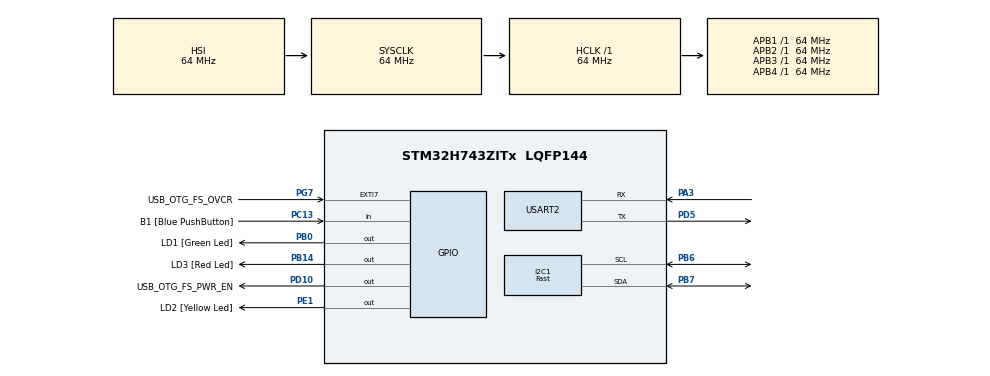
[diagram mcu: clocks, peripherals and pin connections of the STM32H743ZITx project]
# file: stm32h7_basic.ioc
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I2C1.I2C_Speed_Mode=I2C_Fast
I2C1.Timing=0x00602173
Mcu.Family=STM32H7
Mcu.Name=STM32H743ZITx
Mcu.Package=LQFP144
NVIC.PriorityGroup=NVIC_PRIORITYGROUP_4
NVIC.TIM1_UP_IRQn=true\:0\:0\:false\:false\:true\:false\:true
NVIC.TimeBase=TIM1_UP_IRQn
NVIC.TimeBaseIP=TIM1
PA1.Signal=ETH_REF_CLK
PA11.Signal=USB_OTG_FS_DM
PA12.Signal=USB_OTG_FS_DP
PA13\ (JTMS/SWDIO).Mode=Trace_Asynchronous_SW
PA13\ (JTMS/SWDIO).Signal=DEBUG_JTMS-SWDIO
PA14\ (JTCK/SWCLK).Mode=Trace_Asynchronous_SW
PA14\ (JTCK/SWCLK).Signal=DEBUG_JTCK-SWCLK
PA2.Signal=ETH_MDIO
PA3.Mode=Asynchronous
PA3.Signal=USART2_RX
PA7.Signal=ETH_CRS_DV
PA8.Signal=USB_OTG_FS_SOF
PA9.Signal=USB_OTG_FS_VBUS
PB0.GPIO_Label=LD1 [Green Led]
PB0.Signal=GPIO_Output
PB13.Signal=ETH_TXD1
PB14.GPIO_Label=LD3 [Red Led]
PB14.Signal=GPIO_Output
PB3\ (JTDO/TRACESWO).Mode=Trace_Asynchronous_SW
PB3\ (JTDO/TRACESWO).Signal=DEBUG_JTDO-SWO
PB6.Mode=I2C
PB6.Signal=I2C1_SCL
PB7.Mode=I2C
PB7.Signal=I2C1_SDA
PC1.Signal=ETH_MDC
PC13.GPIO_Label=B1 [Blue PushButton]
PC13.Signal=GPIO_Input
PC14-OSC32_IN\ (OSC32_IN).Signal=RCC_OSC32_IN
PC15-OSC32_OUT\ (OSC32_OUT).Signal=RCC_OSC32_OUT
PC4.Signal=ETH_RXD0
PC5.Signal=ETH_RXD1
PD10.GPIO_Label=USB_OTG_FS_PWR_EN
PD10.Signal=GPIO_Output
PD5.Mode=Asynchronous
PD5.Signal=USART2_TX
PD8.GPIO_Label=STLINK_RX
PD8.Signal=USART3_TX
PD9.GPIO_Label=STLINK_TX
PD9.Signal=USART3_RX
PE1.GPIO_Label=LD2 [Yellow Led]
PE1.Signal=GPIO_Output
PG11.Signal=ETH_TX_EN
PG13.Signal=ETH_TXD0
PG7.GPIO_Label=USB_OTG_FS_OVCR
PG7.Signal=GPXTI7
PH0-OSC_IN\ (PH0).Signal=RCC_OSC_IN
PH1-OSC_OUT\ (PH1).Signal=RCC_OSC_OUT
ProjectManager.HeapSize=0x200
ProjectManager.StackSize=0x400
ProjectManager.TargetToolchain=SW4STM32
RCC.ADCFreq_Value=129000000
RCC.APB1Freq_Value=64000000
RCC.APB2Freq_Value=64000000
RCC.APB3Freq_Value=64000000
RCC.APB4Freq_Value=64000000
RCC.CortexFreq_Value=64000000
RCC.HCLKFreq_Value=64000000
RCC.SYSCLKFreq_VALUE=64000000
RCC.USBFreq_Value=129000000
USART2.VirtualMode-Asynchronous=VM_ASYNC
VP_SYS_VS_tim1.Mode=TIM1
board=NUCLEO-H743ZI2

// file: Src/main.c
/* USER CODE BEGIN Header */
/**
  ******************************************************************************
  * @file           : main.c
  * @brief          : Main program body
  ******************************************************************************
  * @attention
  *
  * <h2><center>&copy; Copyright (c) 2020 STMicroelectronics.
  * All rights reserved.</center></h2>
  *
  * This software component is licensed by ST under BSD 3-Clause license,
  * the "License"; You may not use this file except in compliance with the
  * License. You may obtain a copy of the License at:
  *                        opensource.org/licenses/BSD-3-Clause
  *
  ******************************************************************************
  */
/* USER CODE END Header */

#include "main.h"

/* USER CODE BEGIN PD */
#define CPU_CORE_FREQUENCY_HZ 64000000 /* CPU core frequency in Hz */
#define SWO_FREQUENCY_HZ  2000000 /* frequency of SWO line in Hz */

/* USER CODE END PD */

I2C_HandleTypeDef hi2c1;

UART_HandleTypeDef huart2;

void SystemClock_Config(void);
static void MX_GPIO_Init(void);
static void MX_I2C1_Init(void);
static void MX_USART2_UART_Init(void);

/* USER CODE BEGIN 0 */
/*!
 * \brief Initialize the SWO trace port for debug message printing
 * \param portBits Port bit mask to be configured
 * \param cpuCoreFreqHz CPU core clock frequency in Hz
 */
void SWO_Init(uint32_t portBits, uint32_t cpuCoreFreqHz, uint32_t swoSpeedHz) {
  uint32_t SWOPrescaler = (cpuCoreFreqHz / swoSpeedHz) - 1; /* SWOSpeed in Hz, note that cpuCoreFreqHz is expected to match the CPU core clock */

  CoreDebug->DEMCR = CoreDebug_DEMCR_TRCENA_Msk; /* enable trace in core debug */
  *((volatile unsigned *)(ITM_BASE + 0x400F0)) = 0x00000002; /* "Selected PIN Protocol Register": Select which protocol to use for trace output (2: SWO NRZ, 1: SWO Manchester encoding) */
  *((volatile unsigned *)(ITM_BASE + 0x40010)) = SWOPrescaler; /* "Async Clock Prescaler Register". Scale the baud rate of the asynchronous output */
  *((volatile unsigned *)(ITM_BASE + 0x00FB0)) = 0xC5ACCE55; /* ITM Lock Access Register, C5ACCE55 enables more write access to Control Register 0xE00 :: 0xFFC */
  ITM->TCR = ITM_TCR_TraceBusID_Msk | ITM_TCR_SWOENA_Msk | ITM_TCR_SYNCENA_Msk | ITM_TCR_ITMENA_Msk; /* ITM Trace Control Register */
  ITM->TPR = ITM_TPR_PRIVMASK_Msk; /* ITM Trace Privilege Register */
  ITM->TER = portBits; /* ITM Trace Enable Register. Enabled tracing on stimulus ports. One bit per stimulus port. */
  *((volatile unsigned *)(ITM_BASE + 0x01000)) = 0x400003FE; /* DWT_CTRL */
  *((volatile unsigned *)(ITM_BASE + 0x40304)) = 0x00000100; /* Formatter and Flush Control Register */
}

void SWO_Init_stm32h7(uint32_t portBits, uint32_t cpuCoreFreqHz, uint32_t swoSpeedHz)
{
  /*
    This functions recommends system speed of 400000000Hz and will
    use SWO clock speed of 2000000Hz

    # GDB OpenOCD commands to connect to this:
    monitor tpiu config internal - uart off 400000000
    monitor itm port 0 on

    Code Gen Ref: https://gist.github.com/mofosyne/178ad947fdff0f357eb0e03a42bcef5c
  */

  /* Setup SWO and SWO funnel (Note: SWO_BASE and SWTF_BASE not defined in stm32h743xx.h) */
  // DBGMCU_CR : Enable D3DBGCKEN D1DBGCKEN TRACECLKEN Clock Domains
  DBGMCU->CR =  DBGMCU_CR_DBG_CKD3EN | DBGMCU_CR_DBG_CKD1EN | DBGMCU_CR_DBG_TRACECKEN; // DBGMCU_CR
  // SWO_LAR & SWTF_LAR : Unlock SWO and SWO Funnel
  *((uint32_t *)(0x5c003fb0)) = 0xC5ACCE55; // SWO_LAR
  *((uint32_t *)(0x5c004fb0)) = 0xC5ACCE55; // SWTF_LAR
  // SWO_CODR  : 400000000Hz -> 2000000Hz
  // Note: SWOPrescaler = ((sysclock_Hz / SWOSpeed_Hz) - 1) --> 0x0000c7 = 199 = (400000000 / 2000000) - 1)
  *((uint32_t *)(0x5c003010)) = ((cpuCoreFreqHz /  swoSpeedHz) - 1); // SWO_CODR
  // SWO_SPPR : (2:  SWO NRZ, 1:  SWO Manchester encoding)
  *((uint32_t *)(0x5c0030f0)) = 0x00000002; // SWO_SPPR
  // SWTF_CTRL : enable SWO
  *((uint32_t *)(0x5c004000)) |= 0x1; // SWTF_CTRL

  /* SWO GPIO Pin Setup */
  //RCC_AHB4ENR enable GPIOB clock
  *(__IO uint32_t*)(0x580244E0) |= 0x00000002;
  // Configure GPIOB pin 3 as AF
  *(__IO uint32_t*)(0x58020400) = (*(__IO uint32_t*)(0x58020400) & 0xffffff3f) | 0x00000080;
  // Configure GPIOB pin 3 Speed
  *(__IO uint32_t*)(0x58020408) |= 0x00000080;
  // Force AF0 for GPIOB pin 3
  *(__IO uint32_t*)(0x58020420) &= 0xFFFF0FFF;
}

/*!
 * \brief Sends a character over the SWO channel
 * \param c Character to be sent
 * \param portNo SWO channel number, value in the range of 0 to 31
 */
void SWO_PrintChar(char c, uint8_t portNo) {
  volatile int timeout;

  /* Check if Trace Control Register (ITM->TCR at 0xE0000E80) is set */
  if ((ITM->TCR&ITM_TCR_ITMENA_Msk) == 0) { /* check Trace Control Register if ITM trace is enabled*/
    return; /* not enabled? */
  }
  /* Check if the requested channel stimulus port (ITM->TER at 0xE0000E00) is enabled */
  if ((ITM->TER & (1ul<<portNo))==0) { /* check Trace Enable Register if requested port is enabled */
    return; /* requested port not enabled? */
  }
  timeout = 5000; /* arbitrary timeout value */
  while (ITM->PORT[0].u32 == 0) {
    /* Wait until STIMx is ready, then send data */
    timeout--;
    if (timeout==0) {
      return; /* not able to send */
    }
  }
  ITM->PORT[0].u16 = 0x08 | (c<<8);
}

/* USER CODE END 0 */

int main(void)
{

  /* MCU Configuration--------------------------------------------------------*/

  /* Reset of all peripherals, Initializes the Flash interface and the Systick. */
  HAL_Init();

  /* Configure the system clock */
  SystemClock_Config();

  /* Initialize all configured peripherals */
  MX_GPIO_Init();
  MX_I2C1_Init();
  MX_USART2_UART_Init();
  /* USER CODE BEGIN 2 */
//  SWO_Init(0x1, CPU_CORE_FREQUENCY_HZ, SWO_FREQUENCY_HZ);
  SWO_Init_stm32h7(0x1, CPU_CORE_FREQUENCY_HZ, SWO_FREQUENCY_HZ);

  /* USER CODE END 2 */

  /* Infinite loop */
  /* USER CODE BEGIN WHILE */
  while (1)
  {
    SWO_PrintChar('a',0);

    /* USER CODE END WHILE */

  }
}

void SystemClock_Config(void)
{
  RCC_OscInitTypeDef RCC_OscInitStruct = {0};
  RCC_ClkInitTypeDef RCC_ClkInitStruct = {0};
  RCC_PeriphCLKInitTypeDef PeriphClkInitStruct = {0};

  /** Supply configuration update enable
  */
  HAL_PWREx_ConfigSupply(PWR_LDO_SUPPLY);
  /** Configure the main internal regulator output voltage
  */
  __HAL_PWR_VOLTAGESCALING_CONFIG(PWR_REGULATOR_VOLTAGE_SCALE3);

  while(!__HAL_PWR_GET_FLAG(PWR_FLAG_VOSRDY)) {}
  /** Initializes the CPU, AHB and APB busses clocks
  */
  RCC_OscInitStruct.OscillatorType = RCC_OSCILLATORTYPE_HSI;
  RCC_OscInitStruct.HSIState = RCC_HSI_DIV1;
  RCC_OscInitStruct.HSICalibrationValue = RCC_HSICALIBRATION_DEFAULT;
  RCC_OscInitStruct.PLL.PLLState = RCC_PLL_NONE;
  if (HAL_RCC_OscConfig(&RCC_OscInitStruct) != HAL_OK)
  {
    Error_Handler();
  }
  /** Initializes the CPU, AHB and APB busses clocks
  */
  RCC_ClkInitStruct.ClockType = RCC_CLOCKTYPE_HCLK|RCC_CLOCKTYPE_SYSCLK
                              |RCC_CLOCKTYPE_PCLK1|RCC_CLOCKTYPE_PCLK2
                              |RCC_CLOCKTYPE_D3PCLK1|RCC_CLOCKTYPE_D1PCLK1;
  RCC_ClkInitStruct.SYSCLKSource = RCC_SYSCLKSOURCE_HSI;
  RCC_ClkInitStruct.SYSCLKDivider = RCC_SYSCLK_DIV1;
  RCC_ClkInitStruct.AHBCLKDivider = RCC_HCLK_DIV1;
  RCC_ClkInitStruct.APB3CLKDivider = RCC_APB3_DIV1;
  RCC_ClkInitStruct.APB1CLKDivider = RCC_APB1_DIV1;
  RCC_ClkInitStruct.APB2CLKDivider = RCC_APB2_DIV1;
  RCC_ClkInitStruct.APB4CLKDivider = RCC_APB4_DIV1;

  if (HAL_RCC_ClockConfig(&RCC_ClkInitStruct, FLASH_LATENCY_0) != HAL_OK)
  {
    Error_Handler();
  }
  PeriphClkInitStruct.PeriphClockSelection = RCC_PERIPHCLK_USART2|RCC_PERIPHCLK_I2C1;
  PeriphClkInitStruct.Usart234578ClockSelection = RCC_USART234578CLKSOURCE_D2PCLK1;
  PeriphClkInitStruct.I2c123ClockSelection = RCC_I2C123CLKSOURCE_D2PCLK1;
  if (HAL_RCCEx_PeriphCLKConfig(&PeriphClkInitStruct) != HAL_OK)
  {
    Error_Handler();
  }
}

static void MX_I2C1_Init(void)
{

  hi2c1.Instance = I2C1;
  hi2c1.Init.Timing = 0x00602173;
  hi2c1.Init.OwnAddress1 = 0;
  hi2c1.Init.AddressingMode = I2C_ADDRESSINGMODE_7BIT;
  hi2c1.Init.DualAddressMode = I2C_DUALADDRESS_DISABLE;
  hi2c1.Init.OwnAddress2 = 0;
  hi2c1.Init.OwnAddress2Masks = I2C_OA2_NOMASK;
  hi2c1.Init.GeneralCallMode = I2C_GENERALCALL_DISABLE;
  hi2c1.Init.NoStretchMode = I2C_NOSTRETCH_DISABLE;
  if (HAL_I2C_Init(&hi2c1) != HAL_OK)
  {
    Error_Handler();
  }
  /** Configure Analogue filter
  */
  if (HAL_I2CEx_ConfigAnalogFilter(&hi2c1, I2C_ANALOGFILTER_ENABLE) != HAL_OK)
  {
    Error_Handler();
  }
  /** Configure Digital filter
  */
  if (HAL_I2CEx_ConfigDigitalFilter(&hi2c1, 0) != HAL_OK)
  {
    Error_Handler();
  }

}

static void MX_USART2_UART_Init(void)
{

  huart2.Instance = USART2;
  huart2.Init.BaudRate = 115200;
  huart2.Init.WordLength = UART_WORDLENGTH_8B;
  huart2.Init.StopBits = UART_STOPBITS_1;
  huart2.Init.Parity = UART_PARITY_NONE;
  huart2.Init.Mode = UART_MODE_TX_RX;
  huart2.Init.HwFlowCtl = UART_HWCONTROL_NONE;
  huart2.Init.OverSampling = UART_OVERSAMPLING_16;
  huart2.Init.OneBitSampling = UART_ONE_BIT_SAMPLE_DISABLE;
  huart2.Init.ClockPrescaler = UART_PRESCALER_DIV1;
  huart2.AdvancedInit.AdvFeatureInit = UART_ADVFEATURE_NO_INIT;
  if (HAL_UART_Init(&huart2) != HAL_OK)
  {
    Error_Handler();
  }
  if (HAL_UARTEx_SetTxFifoThreshold(&huart2, UART_TXFIFO_THRESHOLD_1_8) != HAL_OK)
  {
    Error_Handler();
  }
  if (HAL_UARTEx_SetRxFifoThreshold(&huart2, UART_RXFIFO_THRESHOLD_1_8) != HAL_OK)
  {
    Error_Handler();
  }
  if (HAL_UARTEx_DisableFifoMode(&huart2) != HAL_OK)
  {
    Error_Handler();
  }

}

static void MX_GPIO_Init(void)
{
  GPIO_InitTypeDef GPIO_InitStruct = {0};

  /* GPIO Ports Clock Enable */
  __HAL_RCC_GPIOC_CLK_ENABLE();
  __HAL_RCC_GPIOH_CLK_ENABLE();
  __HAL_RCC_GPIOA_CLK_ENABLE();
  __HAL_RCC_GPIOB_CLK_ENABLE();
  __HAL_RCC_GPIOD_CLK_ENABLE();
  __HAL_RCC_GPIOG_CLK_ENABLE();
  __HAL_RCC_GPIOE_CLK_ENABLE();

  /*Configure GPIO pin Output Level */
  HAL_GPIO_WritePin(GPIOB, LD1_Pin|LD3_Pin, GPIO_PIN_RESET);

  /*Configure GPIO pin Output Level */
  HAL_GPIO_WritePin(USB_OTG_FS_PWR_EN_GPIO_Port, USB_OTG_FS_PWR_EN_Pin, GPIO_PIN_RESET);

  /*Configure GPIO pin Output Level */
  HAL_GPIO_WritePin(LD2_GPIO_Port, LD2_Pin, GPIO_PIN_RESET);

  /*Configure GPIO pin : B1_Pin */
  GPIO_InitStruct.Pin = B1_Pin;
  GPIO_InitStruct.Mode = GPIO_MODE_INPUT;
  GPIO_InitStruct.Pull = GPIO_NOPULL;
  HAL_GPIO_Init(B1_GPIO_Port, &GPIO_InitStruct);

  /*Configure GPIO pins : PC1 PC4 PC5 */
  GPIO_InitStruct.Pin = GPIO_PIN_1|GPIO_PIN_4|GPIO_PIN_5;
  GPIO_InitStruct.Mode = GPIO_MODE_AF_PP;
  GPIO_InitStruct.Pull = GPIO_NOPULL;
  GPIO_InitStruct.Speed = GPIO_SPEED_FREQ_LOW;
  GPIO_InitStruct.Alternate = GPIO_AF11_ETH;
  HAL_GPIO_Init(GPIOC, &GPIO_InitStruct);

  /*Configure GPIO pins : PA1 PA2 PA7 */
  GPIO_InitStruct.Pin = GPIO_PIN_1|GPIO_PIN_2|GPIO_PIN_7;
  GPIO_InitStruct.Mode = GPIO_MODE_AF_PP;
  GPIO_InitStruct.Pull = GPIO_NOPULL;
  GPIO_InitStruct.Speed = GPIO_SPEED_FREQ_LOW;
  GPIO_InitStruct.Alternate = GPIO_AF11_ETH;
  HAL_GPIO_Init(GPIOA, &GPIO_InitStruct);

  /*Configure GPIO pins : LD1_Pin LD3_Pin */
  GPIO_InitStruct.Pin = LD1_Pin|LD3_Pin;
  GPIO_InitStruct.Mode = GPIO_MODE_OUTPUT_PP;
  GPIO_InitStruct.Pull = GPIO_NOPULL;
  GPIO_InitStruct.Speed = GPIO_SPEED_FREQ_LOW;
  HAL_GPIO_Init(GPIOB, &GPIO_InitStruct);

  /*Configure GPIO pin : PB13 */
  GPIO_InitStruct.Pin = GPIO_PIN_13;
  GPIO_InitStruct.Mode = GPIO_MODE_AF_PP;
  GPIO_InitStruct.Pull = GPIO_NOPULL;
  GPIO_InitStruct.Speed = GPIO_SPEED_FREQ_LOW;
  GPIO_InitStruct.Alternate = GPIO_AF11_ETH;
  HAL_GPIO_Init(GPIOB, &GPIO_InitStruct);

  /*Configure GPIO pins : STLINK_RX_Pin STLINK_TX_Pin */
  GPIO_InitStruct.Pin = STLINK_RX_Pin|STLINK_TX_Pin;
  GPIO_InitStruct.Mode = GPIO_MODE_AF_PP;
  GPIO_InitStruct.Pull = GPIO_NOPULL;
  GPIO_InitStruct.Speed = GPIO_SPEED_FREQ_LOW;
  GPIO_InitStruct.Alternate = GPIO_AF7_USART3;
  HAL_GPIO_Init(GPIOD, &GPIO_InitStruct);

  /*Configure GPIO pin : USB_OTG_FS_PWR_EN_Pin */
  GPIO_InitStruct.Pin = USB_OTG_FS_PWR_EN_Pin;
  GPIO_InitStruct.Mode = GPIO_MODE_OUTPUT_PP;
  GPIO_InitStruct.Pull = GPIO_NOPULL;
  GPIO_InitStruct.Speed = GPIO_SPEED_FREQ_LOW;
  HAL_GPIO_Init(USB_OTG_FS_PWR_EN_GPIO_Port, &GPIO_InitStruct);

  /*Configure GPIO pin : USB_OTG_FS_OVCR_Pin */
  GPIO_InitStruct.Pin = USB_OTG_FS_OVCR_Pin;
  GPIO_InitStruct.Mode = GPIO_MODE_IT_RISING;
  GPIO_InitStruct.Pull = GPIO_NOPULL;
  HAL_GPIO_Init(USB_OTG_FS_OVCR_GPIO_Port, &GPIO_InitStruct);

  /*Configure GPIO pins : PA8 PA11 PA12 */
  GPIO_InitStruct.Pin = GPIO_PIN_8|GPIO_PIN_11|GPIO_PIN_12;
  GPIO_InitStruct.Mode = GPIO_MODE_AF_PP;
  GPIO_InitStruct.Pull = GPIO_NOPULL;
  GPIO_InitStruct.Speed = GPIO_SPEED_FREQ_LOW;
  GPIO_InitStruct.Alternate = GPIO_AF10_OTG1_FS;
  HAL_GPIO_Init(GPIOA, &GPIO_InitStruct);

  /*Configure GPIO pins : PG11 PG13 */
  GPIO_InitStruct.Pin = GPIO_PIN_11|GPIO_PIN_13;
  GPIO_InitStruct.Mode = GPIO_MODE_AF_PP;
  GPIO_InitStruct.Pull = GPIO_NOPULL;
  GPIO_InitStruct.Speed = GPIO_SPEED_FREQ_LOW;
  GPIO_InitStruct.Alternate = GPIO_AF11_ETH;
  HAL_GPIO_Init(GPIOG, &GPIO_InitStruct);

  /*Configure GPIO pin : LD2_Pin */
  GPIO_InitStruct.Pin = LD2_Pin;
  GPIO_InitStruct.Mode = GPIO_MODE_OUTPUT_PP;
  GPIO_InitStruct.Pull = GPIO_NOPULL;
  GPIO_InitStruct.Speed = GPIO_SPEED_FREQ_LOW;
  HAL_GPIO_Init(LD2_GPIO_Port, &GPIO_InitStruct);

}

void HAL_TIM_PeriodElapsedCallback(TIM_HandleTypeDef *htim)
{
  if (htim->Instance == TIM1) {
    HAL_IncTick();
  }
}

void Error_Handler(void)
{
}

/************************ (C) COPYRIGHT STMicroelectronics *****END OF FILE****/
